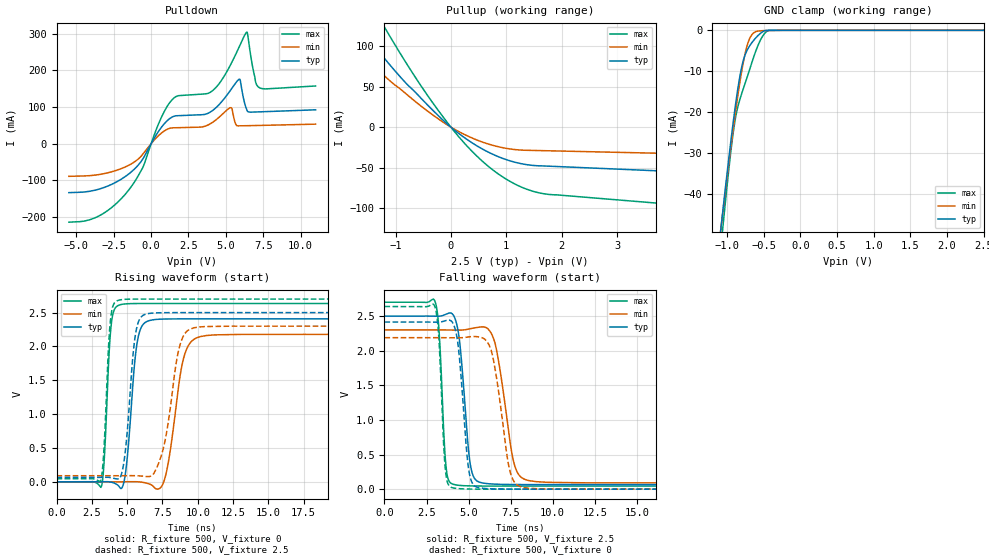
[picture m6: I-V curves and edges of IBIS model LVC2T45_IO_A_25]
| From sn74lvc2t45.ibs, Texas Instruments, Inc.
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[Model]   LVC2T45_IO_A_25
Model_type  I/O
Vinl=0.7
Vinh=1.7
Enable   Active-Low
Vref =   0
Rref =   2000
Cref =   15p
Vmeas =   1.25
| variable   typ   min   max
C_comp   6.52pF   5.70pF   7.55pF
| C_pullup   9.81pF   6.84pF   11.27pF
| C_pulldown   9.87pF   7.17pF   14.11pF
| C_tri-state   6.52pF   5.70pF   7.55pF
[Temperature Range]   40   100   -40
| Ambient temperature   25   85   -40
[Voltage range]   2.5   2.3   2.7
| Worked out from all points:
|   slope of the pulldown table from 0 to 0.375 V, typ, clamps not added: 14.3 ohm
|   slope of the pullup table from 0 to 0.375 V, typ, clamps not added: 19.7 ohm
|   GND clamp passes 1 mA (typ) near -0.56 V on its own axis
|   rising waveform, R_fixture 500, V_fixture 0: 20-80 % time 558ps typ, 871ps min, 353ps max; typ from 0 V to 2.41 V
|   falling waveform, R_fixture 500, V_fixture 2.5: 20-80 % time 484ps typ, 789ps min, 306ps max; typ from 2.5 V to 0.066 V
|   rising waveform, R_fixture 500, V_fixture 2.5: 20-80 % time 562ps typ, 957ps min, 351ps max; typ from 0.066 V to 2.5 V
|   falling waveform, R_fixture 500, V_fixture 0: 20-80 % time 468ps typ, 750ps min, 296ps max; typ from 2.41 V to 0 V
[GND Clamp]
| LVC2T45_IO_A_25
|   Voltage   I(typ)   I(min)   I(max)
-5.5V     -897.8mA   -832.4mA   -1.016A
-1.085V   -48.68mA   -48.61mA   -53.3mA
-1.055V   -43.78mA   -44.08mA   -47.81mA
-960mV    -28.9mA    -30.22mA   -31.49mA
-910mV    -21.66mA   -23.34mA   -24.31mA
-860mV    -15.14mA   -16.88mA   -19.23mA
-795mV    -8.582mA   -9.485mA   -15.18mA
-730mV    -5.007mA   -3.989mA   -11.68mA
-680mV    -3.482mA   -1.588mA   -8.92mA
-555mV    -899.1uA   -138.8uA   -2.764mA
-465mV    -17.59uA   -54.37uA   -352.7uA
2.5V      23.44pA    61.78nA    334.7pA
[Pulldown]
| LVC2T45_IO_A_25
|   Voltage   I(typ)   I(min)   I(max)
-5.5V     -133.6mA   -89.06mA   -214.3mA
-3.72V    -126.6mA   -85.59mA   -201.8mA
-2.04V    -97.92mA   -68.67mA   -151.9mA
-585mV    -43.63mA   -30.26mA   -67.28mA
1.275V    69.58mA    42.39mA    113.9mA
4.1V      90.3mA     58.05mA    144.4mA
5.335V    147.4mA    98.53mA    217.2mA
5.885V    175.9mA    48.84mA    263.8mA
6.395V    93.62mA    49.21mA    304.7mA
6.98V     86.65mA    49.71mA    170.1mA
7.19V     86.94mA    49.89mA    154.5mA
11V       92.61mA    53.43mA    157.7mA
[Pullup]
| LVC2T45_IO_A_25
|   Voltage   I(typ)   I(min)   I(max)
-5.5V     517.6mA    406.8mA    724mA
-2.09V    163mA      124.1mA    233.8mA
-1.71V    128.4mA    97.02mA    185.2mA
-1.62V    120.4mA    90.83mA    174mA
-1.215V   85.94mA    64.16mA    125.1mA
-380mV    24.45mA    17.69mA    35.02mA
310mV     -16.09mA   -11.19mA   -24.72mA
640mV     -29.59mA   -20.05mA   -46.27mA
955mV     -39.02mA   -25.6mA    -62.27mA
1.565V    -47.61mA   -28.84mA   -80.57mA
7.625V    -65.25mA   -38.14mA   -115.7mA
11V       -75.18mA   -43.32mA   -134.9mA
[Ramp]
| LVC2T45_IO_A_25
| variable   typ   min   max
dV/dt_r   1.50/5.85E-10   1.37/9.18E-10   1.63/3.70E-10
dV/dt_f   1.49/5.03E-10   1.35/8.07E-10   1.62/3.21E-10
R_load = 500
[Rising Waveform]
| LVC2T45_IO_A_25
R_fixture =   500
C_fixture =   0
L_fixture =   0
V_fixture =   0
V_fixture_min = 0
V_fixture_max = 0
|   Time   V(typ)   V(min)   V(max)
0s        163.2pV    6.546nV    2.43nV
3.175ns   254uV      11.93uV    -69.82mV
3.86ns    -4.753mV   -22.22uV   2.295V
4.53ns    -96.02mV   2.726uV    2.618V
5.72ns    2.069V     853.3uV    2.634V
6.6ns     2.384V     -33.42mV   2.634V
7.61ns    2.405V     9.038mV    2.635V
8.985ns   2.407V     1.815V     2.635V
10.21ns   2.407V     2.147V     2.635V
50ns      2.408V     2.179V     2.635V
[Falling Waveform]
| LVC2T45_IO_A_25
R_fixture =   500
C_fixture =   0
L_fixture =   0
V_fixture =   2.5
V_fixture_min = 2.3
V_fixture_max = 2.7
|   Time   V(typ)   V(min)   V(max)
0s        2.5V       2.3V       2.7V
3.005ns   2.498V     2.3V       2.715V
3.665ns   2.527V     2.3V       315.1mV
4.18ns    2.474V     2.298V     65.1mV
5.105ns   355.8mV    2.318V     47.12mV
5.79ns    91.65mV    2.345V     45.34mV
6.595ns   72.33mV    2.086V     44.86mV
7.745ns   66.97mV    336.6mV    44.73mV
8.6ns     66.09mV    123mV      44.71mV
50ns      65.56mV    89.95mV    44.63mV
[Rising Waveform]
| LVC2T45_IO_A_25
R_fixture =   500
C_fixture =   0
L_fixture =   0
V_fixture =   2.5
V_fixture_min = 2.3
V_fixture_max = 2.7
|   Time   V(typ)   V(min)   V(max)
0s        65.53mV    89.9mV     44.61mV
3.145ns   65.7mV     89.92mV    22.49mV
3.815ns   62.53mV    89.89mV    2.377V
4.425ns   43.9mV     89.88mV    2.684V
4.87ns    446mV      90.49mV    2.696V
5.6ns     2.189V     90.58mV    2.7V
6.37ns    2.48V      77.37mV    2.7V
8.785ns   2.5V       2.05V      2.7V
9.71ns    2.5V       2.275V     2.7V
50ns      2.5V       2.3V       2.7V
[Falling Waveform]
| LVC2T45_IO_A_25
R_fixture =   500
C_fixture =   0
L_fixture =   0
V_fixture =   0
V_fixture_min = 0
V_fixture_max = 0
|   Time   V(typ)   V(min)   V(max)
0s        2.414V     2.188V     2.638V
3ns       2.412V     2.188V     2.635V
3.225ns   2.412V     2.188V     2.213V
3.63ns    2.434V     2.188V     263.5mV
4.09ns    2.389V     2.186V     17.65mV
5.01ns    281.2mV    2.199V     1.971mV
5.605ns   21.59mV    2.199V     622uV
6.35ns    5.235mV    2V         222.2uV
8.24ns    374.3uV    24.81mV    97.2uV
50ns      26.06uV    40.87uV    13.92uV
